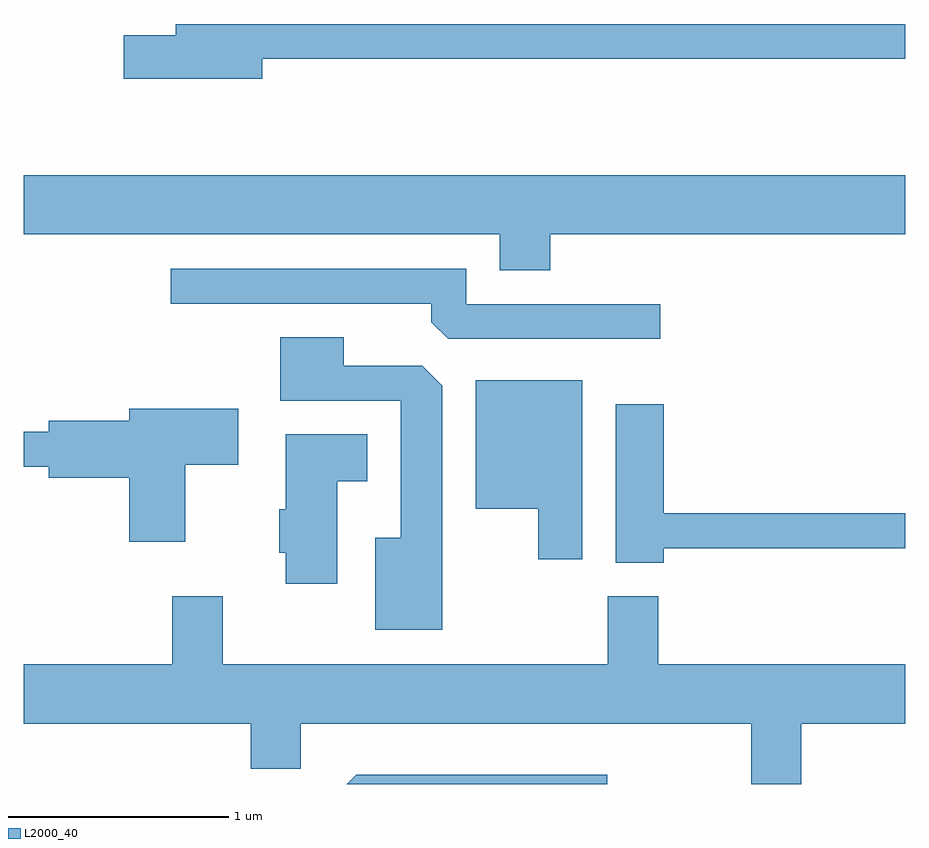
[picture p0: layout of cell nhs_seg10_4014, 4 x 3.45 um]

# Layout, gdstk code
import gdstk
lib = gdstk.Library(unit=1e-6, precision=1e-09)
def P(c, l, *ps):  # polygons
    for p in ps: c.add(gdstk.Polygon(p, *l))
L2000_40 = (2000, 40)

nhs_seg10_4014 = lib.new_cell('nhs_seg10_4014')
P(nhs_seg10_4014, L2000_40, [(304.694,2125.811),(307.611,2125.811),(307.611,2125.969),(304.301,2125.969),(304.301,2125.919),(304.066,2125.919),(304.066,2125.721),(304.694,2125.721)],
  [(305.999,2125.016),(307.611,2125.016),(307.611,2125.284),(303.611,2125.284),(303.611,2125.016),(305.771,2125.016),(305.771,2124.851),(305.999,2124.851)],
  [(306.498,2124.699),(305.619,2124.699),(305.619,2124.859),(304.278,2124.859),(304.278,2124.701),(305.461,2124.701),(305.461,2124.617),(305.537,2124.541),(306.498,2124.541)],
  [(305.509,2124.329),(305.419,2124.419),(305.064,2124.419),(305.064,2124.549),(304.776,2124.549),(304.776,2124.261),(305.321,2124.261),(305.321,2123.639),(305.206,2123.639),(305.206,2123.221),(305.509,2123.221)],
  [(306.144,2124.354),(305.661,2124.354),(305.661,2123.771),(305.946,2123.771),(305.946,2123.541),(306.144,2123.541)],
  [(306.514,2123.591),(307.611,2123.591),(307.611,2123.749),(306.514,2123.749),(306.514,2124.244),(306.296,2124.244),(306.296,2123.526),(306.514,2123.526)],
  [(304.344,2123.971),(304.584,2123.971),(304.584,2124.224),(304.091,2124.224),(304.091,2124.169),(303.726,2124.169),(303.726,2124.119),(303.611,2124.119),(303.611,2123.961),(303.726,2123.961),(303.726,2123.911),(304.091,2123.911),(304.091,2123.621),(304.344,2123.621)],
  [(305.034,2123.896),(305.169,2123.896),(305.169,2124.109),(304.801,2124.109),(304.801,2123.769),(304.771,2123.769),(304.771,2123.571),(304.801,2123.571),(304.801,2123.431),(305.034,2123.431)],
  [(307.139,2122.796),(307.611,2122.796),(307.611,2123.064),(306.489,2123.064),(306.489,2123.374),(306.261,2123.374),(306.261,2123.064),(304.514,2123.064),(304.514,2123.374),(304.286,2123.374),(304.286,2123.064),(303.611,2123.064),(303.611,2122.796),(304.641,2122.796),(304.641,2122.591),(304.869,2122.591),(304.869,2122.796),(306.911,2122.796),(306.911,2122.522),(307.139,2122.522)],
  [(306.258,2122.564),(305.119,2122.564),(305.077,2122.522),(306.258,2122.522)])

lib.write_gds('nhs_seg10_4014.gds')
